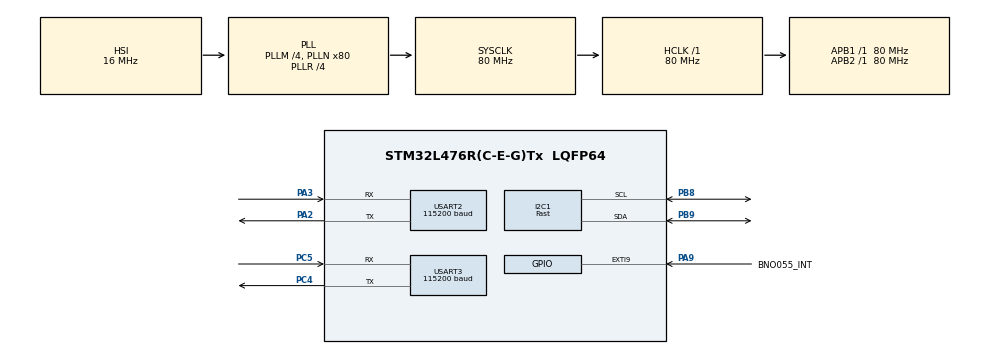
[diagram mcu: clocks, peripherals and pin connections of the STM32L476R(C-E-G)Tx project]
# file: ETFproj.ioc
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Dma.I2C1_RX.1.Direction=DMA_PERIPH_TO_MEMORY
Dma.I2C1_RX.1.Instance=DMA2_Channel6
Dma.I2C1_RX.1.MemDataAlignment=DMA_MDATAALIGN_BYTE
Dma.I2C1_RX.1.MemInc=DMA_MINC_ENABLE
Dma.I2C1_RX.1.Mode=DMA_NORMAL
Dma.I2C1_RX.1.PeriphDataAlignment=DMA_PDATAALIGN_BYTE
Dma.I2C1_RX.1.PeriphInc=DMA_PINC_DISABLE
Dma.I2C1_RX.1.Priority=DMA_PRIORITY_HIGH
Dma.I2C1_TX.2.Direction=DMA_MEMORY_TO_PERIPH
Dma.I2C1_TX.2.Instance=DMA1_Channel6
Dma.I2C1_TX.2.MemDataAlignment=DMA_MDATAALIGN_BYTE
Dma.I2C1_TX.2.MemInc=DMA_MINC_ENABLE
Dma.I2C1_TX.2.Mode=DMA_NORMAL
Dma.I2C1_TX.2.PeriphDataAlignment=DMA_PDATAALIGN_BYTE
Dma.I2C1_TX.2.PeriphInc=DMA_PINC_DISABLE
Dma.I2C1_TX.2.Priority=DMA_PRIORITY_HIGH
Dma.Request0=USART2_TX
Dma.Request1=I2C1_RX
Dma.Request2=I2C1_TX
Dma.USART2_TX.0.Direction=DMA_MEMORY_TO_PERIPH
Dma.USART2_TX.0.Instance=DMA1_Channel7
Dma.USART2_TX.0.MemDataAlignment=DMA_MDATAALIGN_BYTE
Dma.USART2_TX.0.MemInc=DMA_MINC_ENABLE
Dma.USART2_TX.0.Mode=DMA_NORMAL
Dma.USART2_TX.0.PeriphDataAlignment=DMA_PDATAALIGN_BYTE
Dma.USART2_TX.0.PeriphInc=DMA_PINC_DISABLE
Dma.USART2_TX.0.Priority=DMA_PRIORITY_MEDIUM
I2C1.I2C_Speed_Mode=I2C_Fast
I2C1.Timing=0x00F12981
Mcu.Family=STM32L4
Mcu.Name=STM32L476R(C-E-G)Tx
Mcu.Package=LQFP64
NVIC.DMA1_Channel6_IRQn=true\:0\:0\:false\:false\:true\:false\:true\:true
NVIC.DMA1_Channel7_IRQn=true\:0\:0\:false\:false\:true\:false\:true\:true
NVIC.DMA2_Channel6_IRQn=true\:0\:0\:false\:false\:true\:false\:true\:true
NVIC.EXTI9_5_IRQn=true\:0\:0\:false\:false\:true\:true\:true\:true
NVIC.I2C1_ER_IRQn=true\:0\:0\:false\:false\:true\:true\:true\:true
NVIC.I2C1_EV_IRQn=true\:0\:0\:false\:false\:true\:true\:true\:true
NVIC.PriorityGroup=NVIC_PRIORITYGROUP_4
NVIC.USART2_IRQn=true\:0\:0\:false\:false\:true\:true\:true\:true
PA2.Mode=Asynchronous
PA2.Signal=USART2_TX
PA3.Mode=Asynchronous
PA3.Signal=USART2_RX
PA9.GPIO_Label=BNO055_INT
PA9.Signal=GPXTI9
PB8.GPIO_Pu=GPIO_PULLUP
PB8.Mode=I2C
PB8.Signal=I2C1_SCL
PB9.GPIO_Pu=GPIO_PULLUP
PB9.Mode=I2C
PB9.Signal=I2C1_SDA
PC4.Mode=Asynchronous
PC4.Signal=USART3_TX
PC5.Mode=Asynchronous
PC5.Signal=USART3_RX
PH0-OSC_IN\ (PH0).Mode=HSE-External-Oscillator
PH0-OSC_IN\ (PH0).Signal=RCC_OSC_IN
PH1-OSC_OUT\ (PH1).Mode=HSE-External-Oscillator
PH1-OSC_OUT\ (PH1).Signal=RCC_OSC_OUT
ProjectManager.HeapSize=0x200
ProjectManager.StackSize=0x400
ProjectManager.TargetToolchain=STM32CubeIDE
RCC.ADCFreq_Value=16000000
RCC.AHBFreq_Value=80000000
RCC.APB1Freq_Value=80000000
RCC.APB1TimFreq_Value=80000000
RCC.APB2Freq_Value=80000000
RCC.APB2TimFreq_Value=80000000
RCC.CortexFreq_Value=80000000
RCC.HCLKFreq_Value=80000000
RCC.HSE_VALUE=8000000
RCC.HSI_VALUE=16000000
RCC.LSE_VALUE=32768
RCC.MSI_VALUE=4000000
RCC.PLLM=4
RCC.PLLN=80
RCC.PLLR=RCC_PLLR_DIV4
RCC.PLLSourceVirtual=RCC_PLLSOURCE_HSI
RCC.SYSCLKFreq_VALUE=80000000
RCC.SYSCLKSource=RCC_SYSCLKSOURCE_PLLCLK
RCC.USBFreq_Value=16000000
RCC.VCOOutputFreq_Value=320000000
USART2.BaudRate=115200
USART2.OverSampling=UART_OVERSAMPLING_8
USART2.VirtualMode-Asynchronous=VM_ASYNC
USART3.BaudRate=115200
USART3.VirtualMode-Asynchronous=VM_ASYNC
board=custom

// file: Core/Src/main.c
/* USER CODE BEGIN Header */
/**
  ******************************************************************************
  * @file           : main.c
  * @brief          : Main program body
  ******************************************************************************
  * @attention
  *
  * Copyright (c) 2026 STMicroelectronics.
  * All rights reserved.
  *
  * This software is licensed under terms that can be found in the LICENSE file
  * in the root directory of this software component.
  * If no LICENSE file comes with this software, it is provided AS-IS.
  *
  ******************************************************************************
  */
/* USER CODE END Header */
#include "main.h"

/* USER CODE BEGIN Includes */
#include "stdio.h"
#include "stm32l4xx_ll_usart.h"
#include "stm32l4xx_ll_i2c.h"
#include "bno055.h"
#include "accel.h"
#include "MQTT.h"
#include "circ_buff.h"

#include <stdlib.h>

/* USER CODE END Includes */

I2C_HandleTypeDef hi2c1;
DMA_HandleTypeDef hdma_i2c1_rx;
DMA_HandleTypeDef hdma_i2c1_tx;

UART_HandleTypeDef huart2;
UART_HandleTypeDef huart3;
DMA_HandleTypeDef hdma_usart2_tx;

void SystemClock_Config(void);
static void MX_GPIO_Init(void);
static void MX_DMA_Init(void);
static void MX_I2C1_Init(void);
static void MX_USART3_UART_Init(void);
static void MX_USART2_UART_Init(void);
/* USER CODE BEGIN PFP */
void I2C_scan(void);
void BNO055_SysCheck(void);

#define CIRCULAR_BUFFER_SIZE 20 //defines for circular buffer
#define PEEK_ARRAY_SIZE 5

static accel_sample_t circular_buffer_storage[CIRCULAR_BUFFER_SIZE] = {0};

volatile uint8_t bno055_data_ready = 0;
volatile uint8_t i2cdma_ready = 1;
volatile uint8_t irq_got = 0;
volatile size_t remain = 0;
volatile uint8_t int_reset = 0;
volatile uint8_t readData = 0;

static circular_buf_t cb;
static cbuf_handle_t handle_ = &cb;

static uint8_t imu_dma_buf[IMU_NUMBER_OF_BYTES];

/* USER CODE END PFP */

int main(void)
{

  /* USER CODE BEGIN 1 */
	static char tx_buf[64];
	accel_sample_t data_sem;

  /* USER CODE END 1 */

  /* MCU Configuration--------------------------------------------------------*/

  /* Reset of all peripherals, Initializes the Flash interface and the Systick. */
  HAL_Init();

  /* Configure the system clock */
  SystemClock_Config();

  /* Initialize all configured peripherals */
  MX_GPIO_Init();
  MX_DMA_Init();
  MX_I2C1_Init();
  MX_USART3_UART_Init();
  MX_USART2_UART_Init();
  /* USER CODE BEGIN 2 */
  printf("New session started \n");
  HAL_Delay(2000);

  //  I2C_scan();
  //  printf("Configure finished\n");

  circular_buf_init(handle_, circular_buffer_storage, CIRCULAR_BUFFER_SIZE);
  printf("Circular buffer initialisation finished\n");

  BNO055_Init_I2C(&hi2c1);
  printf("BNO055 initialisation finished\n");

  //BNO055_SysCheck()

  /* USER CODE END 2 */

  /* Infinite loop */
  /* USER CODE BEGIN WHILE */
//  HAL_I2C_Mem_Read_DMA(&hi2c1, BNO055_I2C_ADDR_LO<<1,
//					   BNO055_REG_ACC_DATA_X_LSB,
//					   I2C_MEMADD_SIZE_8BIT,
//					   imu_dma_buf, IMU_NUMBER_OF_BYTES);
  while (1)
  {
    /* USER CODE END WHILE */

    /* USER CODE BEGIN 3 */

	  if(HAL_I2C_GetState(&hi2c1) == HAL_I2C_STATE_READY && bno055_data_ready == 1){ //GPIO interrupt handler
		  bno055_data_ready = 0;
		  HAL_I2C_Mem_Read_DMA(&hi2c1, BNO055_I2C_ADDR_LO<<1,
							   BNO055_REG_ACC_DATA_X_LSB,
							   I2C_MEMADD_SIZE_8BIT,
							   imu_dma_buf, IMU_NUMBER_OF_BYTES);
		  readData = 1;
		  //irq_got = 1; //flags that it got interrupt
		  //printf("interrupt \r\n");

	  }

//	  if(i2cdma_ready == 1 && irq_got == 1){ //I2C finished callback handler
//		  BNO055_ResetInterrupt(&hi2c1);
//		  i2cdma_ready = 0;
//		  readData = 1;
//		  irq_got = 0;
//	  }

	  if(readData == 1){
		  accel_sample_t s = {
		  	  ((int16_t)((imu_dma_buf[1] << 8) | imu_dma_buf[0])) / 100.0f,
			  ((int16_t)((imu_dma_buf[3] << 8) | imu_dma_buf[2])) / 100.0f,
			  ((int16_t)((imu_dma_buf[5] << 8) | imu_dma_buf[4])) / 100.0f
		  	  	  	  	  	  };
		  circular_buf_put(handle_, s);

		  readData = 0;
		  //printf("data read \r\n");
	  }

//	  remain = circular_buf_size(handle_);
//	  printf("remain=%u\r\n", (unsigned)remain);

	  if(!circular_buf_empty(handle_)&& (HAL_UART_GetState(&huart2) == HAL_UART_STATE_READY)) //sending to UART logic
	  {
		  circular_buf_get(handle_, &data_sem);
		  int len = snprintf(tx_buf, sizeof(tx_buf),
		                     "%.2f %.2f %.2f\r\n",
		                     data_sem.x, data_sem.y, data_sem.z);
		  HAL_UART_Transmit_DMA(&huart2,(uint8_t*)tx_buf, len); //send via DMA and forget

	  }

	  //using PuTTy for capturing readings

  }

  /* USER CODE END 3 */
}

void SystemClock_Config(void)
{
  RCC_OscInitTypeDef RCC_OscInitStruct = {0};
  RCC_ClkInitTypeDef RCC_ClkInitStruct = {0};

  /** Configure the main internal regulator output voltage
  */
  if (HAL_PWREx_ControlVoltageScaling(PWR_REGULATOR_VOLTAGE_SCALE1) != HAL_OK)
  {
    Error_Handler();
  }

  /** Initializes the RCC Oscillators according to the specified parameters
  * in the RCC_OscInitTypeDef structure.
  */
  RCC_OscInitStruct.OscillatorType = RCC_OSCILLATORTYPE_HSI;
  RCC_OscInitStruct.HSIState = RCC_HSI_ON;
  RCC_OscInitStruct.HSICalibrationValue = RCC_HSICALIBRATION_DEFAULT;
  RCC_OscInitStruct.PLL.PLLState = RCC_PLL_ON;
  RCC_OscInitStruct.PLL.PLLSource = RCC_PLLSOURCE_HSI;
  RCC_OscInitStruct.PLL.PLLM = 4;
  RCC_OscInitStruct.PLL.PLLN = 80;
  RCC_OscInitStruct.PLL.PLLP = RCC_PLLP_DIV7;
  RCC_OscInitStruct.PLL.PLLQ = RCC_PLLQ_DIV2;
  RCC_OscInitStruct.PLL.PLLR = RCC_PLLR_DIV4;
  if (HAL_RCC_OscConfig(&RCC_OscInitStruct) != HAL_OK)
  {
    Error_Handler();
  }

  /** Initializes the CPU, AHB and APB buses clocks
  */
  RCC_ClkInitStruct.ClockType = RCC_CLOCKTYPE_HCLK|RCC_CLOCKTYPE_SYSCLK
                              |RCC_CLOCKTYPE_PCLK1|RCC_CLOCKTYPE_PCLK2;
  RCC_ClkInitStruct.SYSCLKSource = RCC_SYSCLKSOURCE_PLLCLK;
  RCC_ClkInitStruct.AHBCLKDivider = RCC_SYSCLK_DIV1;
  RCC_ClkInitStruct.APB1CLKDivider = RCC_HCLK_DIV1;
  RCC_ClkInitStruct.APB2CLKDivider = RCC_HCLK_DIV1;

  if (HAL_RCC_ClockConfig(&RCC_ClkInitStruct, FLASH_LATENCY_4) != HAL_OK)
  {
    Error_Handler();
  }
}

static void MX_I2C1_Init(void)
{

  hi2c1.Instance = I2C1;
  hi2c1.Init.Timing = 0x00F12981;
  hi2c1.Init.OwnAddress1 = 0;
  hi2c1.Init.AddressingMode = I2C_ADDRESSINGMODE_7BIT;
  hi2c1.Init.DualAddressMode = I2C_DUALADDRESS_DISABLE;
  hi2c1.Init.OwnAddress2 = 0;
  hi2c1.Init.OwnAddress2Masks = I2C_OA2_NOMASK;
  hi2c1.Init.GeneralCallMode = I2C_GENERALCALL_DISABLE;
  hi2c1.Init.NoStretchMode = I2C_NOSTRETCH_DISABLE;
  if (HAL_I2C_Init(&hi2c1) != HAL_OK)
  {
    Error_Handler();
  }

  /** Configure Analogue filter
  */
  if (HAL_I2CEx_ConfigAnalogFilter(&hi2c1, I2C_ANALOGFILTER_ENABLE) != HAL_OK)
  {
    Error_Handler();
  }

  /** Configure Digital filter
  */
  if (HAL_I2CEx_ConfigDigitalFilter(&hi2c1, 0) != HAL_OK)
  {
    Error_Handler();
  }

}

static void MX_USART2_UART_Init(void)
{

  huart2.Instance = USART2;
  huart2.Init.BaudRate = 921600;
  huart2.Init.WordLength = UART_WORDLENGTH_8B;
  huart2.Init.StopBits = UART_STOPBITS_1;
  huart2.Init.Parity = UART_PARITY_NONE;
  huart2.Init.Mode = UART_MODE_TX_RX;
  huart2.Init.HwFlowCtl = UART_HWCONTROL_NONE;
  huart2.Init.OverSampling = UART_OVERSAMPLING_8;
  huart2.Init.OneBitSampling = UART_ONE_BIT_SAMPLE_DISABLE;
  huart2.AdvancedInit.AdvFeatureInit = UART_ADVFEATURE_NO_INIT;
  if (HAL_UART_Init(&huart2) != HAL_OK)
  {
    Error_Handler();
  }

}

static void MX_USART3_UART_Init(void)
{

  huart3.Instance = USART3;
  huart3.Init.BaudRate = 115200;
  huart3.Init.WordLength = UART_WORDLENGTH_8B;
  huart3.Init.StopBits = UART_STOPBITS_1;
  huart3.Init.Parity = UART_PARITY_NONE;
  huart3.Init.Mode = UART_MODE_TX_RX;
  huart3.Init.HwFlowCtl = UART_HWCONTROL_NONE;
  huart3.Init.OverSampling = UART_OVERSAMPLING_16;
  huart3.Init.OneBitSampling = UART_ONE_BIT_SAMPLE_DISABLE;
  huart3.AdvancedInit.AdvFeatureInit = UART_ADVFEATURE_NO_INIT;
  if (HAL_UART_Init(&huart3) != HAL_OK)
  {
    Error_Handler();
  }

}

static void MX_DMA_Init(void)
{

  /* DMA controller clock enable */
  __HAL_RCC_DMA1_CLK_ENABLE();
  __HAL_RCC_DMA2_CLK_ENABLE();

  /* DMA interrupt init */
  /* DMA1_Channel6_IRQn interrupt configuration */
  HAL_NVIC_SetPriority(DMA1_Channel6_IRQn, 2, 0);
  HAL_NVIC_EnableIRQ(DMA1_Channel6_IRQn);
  /* DMA1_Channel7_IRQn interrupt configuration */
  HAL_NVIC_SetPriority(DMA1_Channel7_IRQn, 1, 0);
  HAL_NVIC_EnableIRQ(DMA1_Channel7_IRQn);
  /* DMA2_Channel6_IRQn interrupt configuration */
  HAL_NVIC_SetPriority(DMA2_Channel6_IRQn, 1, 0);
  HAL_NVIC_EnableIRQ(DMA2_Channel6_IRQn);

}

static void MX_GPIO_Init(void)
{
  GPIO_InitTypeDef GPIO_InitStruct = {0};

  /* GPIO Ports Clock Enable */
  __HAL_RCC_GPIOH_CLK_ENABLE();
  __HAL_RCC_GPIOA_CLK_ENABLE();
  __HAL_RCC_GPIOC_CLK_ENABLE();
  __HAL_RCC_GPIOB_CLK_ENABLE();

  /*Configure GPIO pin : BNO055_INT_Pin */
  GPIO_InitStruct.Pin = BNO055_INT_Pin;
  GPIO_InitStruct.Mode = GPIO_MODE_IT_RISING;
  GPIO_InitStruct.Pull = GPIO_NOPULL;
  HAL_GPIO_Init(BNO055_INT_GPIO_Port, &GPIO_InitStruct);

  /* EXTI interrupt init*/
  HAL_NVIC_SetPriority(EXTI9_5_IRQn, 3, 0);
  HAL_NVIC_EnableIRQ(EXTI9_5_IRQn);

}

/* USER CODE BEGIN 4 */
int _write(int fd, char* ptr, int len) {
  HAL_StatusTypeDef hstatus;

  if (fd == 1 || fd == 2) {
    hstatus = HAL_UART_Transmit(&huart2, (uint8_t *) ptr, len, HAL_MAX_DELAY);
    if (hstatus == HAL_OK)
      return len;
    else
      return -1;
  }
  return -1;
}

//function used to scan I2C, even tho its written on datasheet, this function is used for checking
//working state of I2C lines
void I2C_scan(void)
{
    for (uint8_t i = 0; i < 128; i++) {
        if (HAL_I2C_IsDeviceReady(&hi2c1, (uint16_t)(i<<1), 3, 5) == HAL_OK) {
            printf("%2x ", i);
        } else {
            printf("-- ");
        }
        if (i > 0 && (i + 1) % 16 == 0) printf("\n");
    }
    printf("Scan finished\n");
}

void HAL_GPIO_EXTI_Callback(uint16_t GPIO_Pin)
{
    if (GPIO_Pin == BNO055_INT_Pin) {
    	if(HAL_I2C_GetState(&hi2c1) == HAL_I2C_STATE_READY){
			BNO055_ResetInterrupt(&hi2c1);
		}
    	bno055_data_ready = 1;
    	//i2cdma_ready = 0;
    }
}

void HAL_I2C_MemRxCpltCallback(I2C_HandleTypeDef *hi2c)
{
    if (hi2c == &hi2c1) {
    	//i2cdma_ready = 1;
    }
}

void BNO055_SysCheck(void){  //function for checking the working state of BNO chip
	char tx[] = "AT\r\n";
	  uint8_t rx[128] = {0};

	  HAL_UART_Transmit(&huart3, (uint8_t*)tx, strlen(tx), 200);
	  HAL_UART_Receive(&huart3, rx, sizeof(rx) - 1, 2000);
	  printf("Response: %s\r\n", rx);

	  uint8_t conf_page1[2] = {BNO055_REG_PAGE_ID, 0x01};
	  HAL_I2C_Master_Transmit(&hi2c1, BNO055_I2C_ADDR_LO<<1, conf_page1, sizeof(conf_page1), 10);
	  HAL_Delay(10);

	  uint8_t reg;
	  HAL_I2C_Mem_Read(&hi2c1, BNO055_I2C_ADDR_LO<<1, BNO055_REG_INT_EN, I2C_MEMADD_SIZE_8BIT, &reg, 1,10);
	  printf("INT_EN REG: 0x%02X\r\n", reg);
	  HAL_I2C_Mem_Read(&hi2c1, BNO055_I2C_ADDR_LO<<1, BNO055_REG_INT_MSK, I2C_MEMADD_SIZE_8BIT, &reg, 1,10);
	  printf("INT_MSK REG: 0x%02X\r\n", reg);

	  uint8_t conf_page0_set[2] = {BNO055_REG_PAGE_ID, 0x00};
	  HAL_I2C_Master_Transmit(&hi2c1, BNO055_I2C_ADDR_LO<<1, conf_page0_set, sizeof(conf_page0_set), 10);
	  HAL_Delay(10);

	  HAL_I2C_Mem_Read(&hi2c1, BNO055_I2C_ADDR_LO<<1, BNO055_REG_OPR_MODE, I2C_MEMADD_SIZE_8BIT, &reg, 1,10);
	  printf("OPR_MODE REG: 0x%02X\r\n", reg);
	  HAL_StatusTypeDef st = HAL_I2C_Mem_Read(&hi2c1, BNO055_I2C_ADDR_LO<<1, BNO055_REG_CHIP_ID, I2C_MEMADD_SIZE_8BIT, &reg, 1, 10);
	  printf("CHIP_ID: 0x%02X (status %d)\r\n", reg, st);
	  HAL_I2C_Mem_Read(&hi2c1, BNO055_I2C_ADDR_LO<<1, BNO055_REG_ACC_ID, I2C_MEMADD_SIZE_8BIT, &reg, 1,10);
	  printf("ACC_ID REG: 0x%02X\r\n", reg);

	  HAL_I2C_Mem_Read(&hi2c1, BNO055_I2C_ADDR_LO<<1, 0x04, I2C_MEMADD_SIZE_8BIT, &reg, 1,10);
	    printf("MSB SW REG: 0x%02X\r\n", reg);
	    HAL_I2C_Mem_Read(&hi2c1, BNO055_I2C_ADDR_LO<<1, 0x05, I2C_MEMADD_SIZE_8BIT, &reg, 1,10);
	    printf("LSB SW REG: 0x%02X\r\n", reg);

}

/* USER CODE END 4 */

void Error_Handler(void)
{
  __disable_irq();
  while (1)
  {
  }
}
